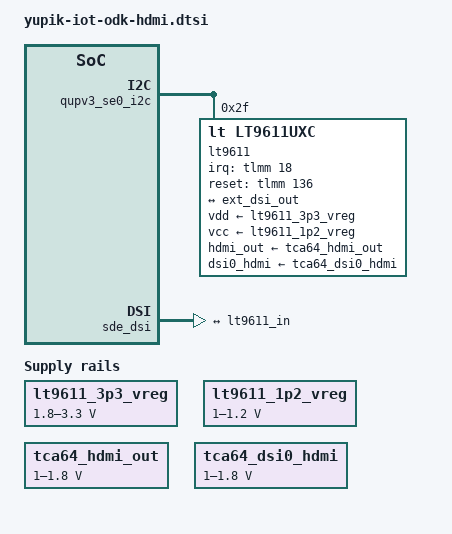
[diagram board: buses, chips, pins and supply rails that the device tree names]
/dts-v1/;

#include "yupik-iot-odk.dtsi"

/*==============================*/
/*     Display Related Start    */
/*==============================*/
&soc {
	lt9611_3p3_vreg: lt9611_3p3_regulator {
		compatible = "regulator-gpio";
		regulator-name = "lt9611_3p3_vreg";
		startup-delay-us = <4000>;
		enable-active-high;
		regulator-min-microvolt = <1800000>;
		regulator-max-microvolt = <3300000>;
		gpios = <&tca64_23 9 GPIO_ACTIVE_HIGH>;
		states = <1800000 0>,
			 <3300000 1>;
	};

	lt9611_1p2_vreg: lt9611_1p2_regulator {
		compatible = "regulator-gpio";
		regulator-name = "lt9611_1p2_vreg";
		startup-delay-us = <4000>;
		enable-active-high;
		regulator-min-microvolt = <1000000>;
		regulator-max-microvolt = <1200000>;
		gpios = <&tca64_23 10 GPIO_ACTIVE_HIGH>;
		states = <1000000 0>,
			 <1200000 1>;
	};

	tca64_hdmi_out: tca64_hdmi_out_regulator {
		compatible = "regulator-gpio";
		regulator-name = "tca64_hdmi_out";
		startup-delay-us = <4000>;
		enable-active-high;
		regulator-min-microvolt = <1000000>;
		regulator-max-microvolt = <1800000>;
		gpios = <&tca64_23 0 GPIO_ACTIVE_HIGH>;
		states = <1000000 0>,
			 <1800000 1>;
	};

	tca64_dsi0_hdmi: tca64_dsi0_hdmi_regulator {
		compatible = "regulator-gpio";
		regulator-name = "tca64_dsi0_hdmi";
		startup-delay-us = <4000>;
		enable-active-high;
		regulator-min-microvolt = <1000000>;
		regulator-max-microvolt = <1800000>;
		gpios = <&tca64_22 2 GPIO_ACTIVE_HIGH>;
		states = <1000000 0>,
			 <1800000 1>;
	};

};

&qupv3_se0_i2c {
	status = "ok";
	qcom,clk-freq-out = <100000>;
	lt9611: lt,lt9611@2f {
		compatible = "lt,lt9611uxc";
		reg = <0x2f>;
		interrupt-parent = <&tlmm>;
		interrupts = <18 0>;
		interrupt-names = "lt_irq";
		lt,irq-gpio = <&tlmm 18 0>;
		lt,reset-gpio = <&tlmm 136 0>;
		instance_id = <0>;
		lt,non-pluggable;

		lt,preferred-mode = "1920x1080";

		vdd-supply = <&lt9611_3p3_vreg>;
		vcc-supply = <&lt9611_1p2_vreg>;
		hdmi_out-supply = <&tca64_hdmi_out>;
		dsi0_hdmi-supply = <&tca64_dsi0_hdmi>;
		lt,supply-entries {
			#address-cells = <1>;
			#size-cells = <0>;

			lt,supply-entry@0 {
				reg = <0>;
				lt,supply-name = "vdd";
				lt,supply-min-voltage = <3300000>;
				lt,supply-max-voltage = <3300000>;
				lt,supply-post-on-sleep = <50>;
			};

			lt,supply-entry@1 {
				reg = <1>;
				lt,supply-name = "vcc";
				lt,supply-min-voltage = <1200000>;
				lt,supply-max-voltage = <1200000>;
				lt,supply-post-on-sleep = <0>;
			};

			lt,supply-entry@2 {
				reg = <2>;
				lt,supply-name = "hdmi_out";
				lt,supply-min-voltage = <1800000>;
				lt,supply-max-voltage = <1800000>;
				lt,supply-post-on-sleep = <0>;
			};

			lt,supply-entry@3 {
				reg = <3>;
				lt,supply-name = "dsi0_hdmi";
				lt,supply-min-voltage = <1800000>;
				lt,supply-max-voltage = <1800000>;
				lt,supply-post-on-sleep = <0>;
			};

		};

		lt,customize-modes {
			lt,customize-mode-id@0 {
				lt,mode-h-active = <1920>;
				lt,mode-h-front-porch = <88>;
				lt,mode-h-pulse-width = <44>;
				lt,mode-h-back-porch = <148>;
				lt,mode-h-active-high;
				lt,mode-v-active = <1080>;
				lt,mode-v-front-porch = <4>;
				lt,mode-v-pulse-width = <5>;
				lt,mode-v-back-porch = <36>;
				lt,mode-v-active-high;
				lt,mode-refresh-rate = <60>;
				lt,mode-clock-in-khz = <148500>;
			};

		};

		ports {
			#address-cells = <1>;
			#size-cells = <0>;
			port@0 {
				reg = <0>;
				lt9611_in: endpoint {
					remote-endpoint = <&ext_dsi_out>;
				};

			};

		};
	};

};

&sde_dsi {
	qcom,dsi-default-panel = <&dsi_ext_bridge_1080p>;

	ports {
		#address-cells = <1>;
		#size-cells = <0>;
		port@0 {
			reg = <0>;
			ext_dsi_out: endpoint {
				remote-endpoint = <&lt9611_in>;
			};
		};
	};

};

/*==============================*/
/*     Display Related End      */
/*==============================*/
